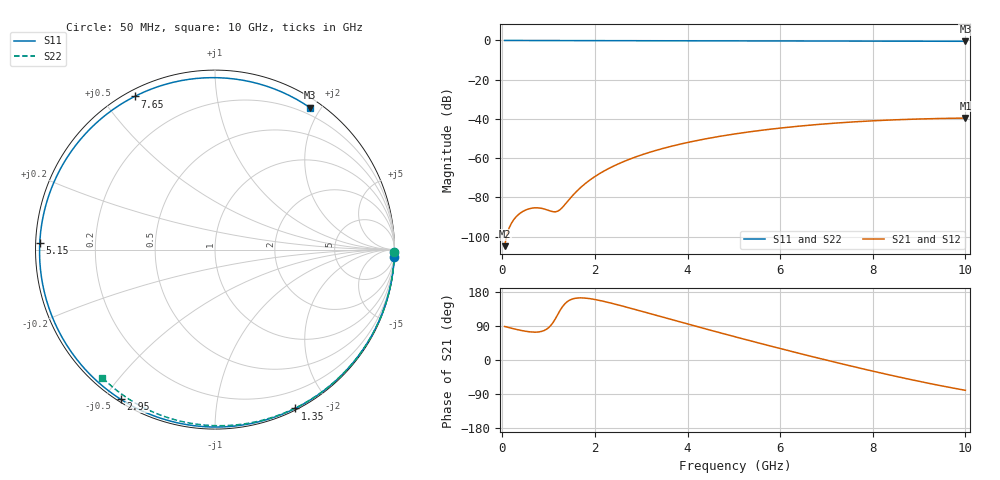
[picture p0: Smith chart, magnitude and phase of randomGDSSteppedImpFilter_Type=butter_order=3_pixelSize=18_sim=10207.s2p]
! freq	dB(S11)	phase(S11)	dB(S12)	phase(S12)
!  dB(S21)	phase(S21)	dB(S22)	phase(S22)
!S-par simulation data
#  GHz  S  DB  R 50
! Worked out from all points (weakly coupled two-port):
!   200 points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, 50 MHz to 10 GHz, reference 50 ohm
!   highest |S21| = -39.58 dB at 10 GHz (marker M1); lowest = -104.9 dB at 50 MHz (marker M2)
!   lowest |S11| = -0.4 dB at 10 GHz (marker M3), VSWR 40.17, Z = 5.6 + j93.4 ohm
!   |S11| at or under -10 dB: nowhere
!   |S22| runs from -0.4 to 0.0 dB; largest |S21 - S12| = 0
!   S11 on the Smith chart (normalised r, x): 50 MHz: 0, -46; 1.35 GHz: 0.02, -1.62; 2.95 GHz: 0.01, -0.55; 5.15 GHz: 0.01, +0.02; 7.65 GHz: 0.03, +0.60; 10 GHz: 0.11, +1.87
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0.05  -0.00 -2.5  -104.91 88.5  -104.91 88.5  -0.00 -0.8
0.35  -0.02 -17.2  -88.77 79.4  -88.77 79.4  -0.01 -5.3
0.65  -0.04 -31.6  -85.50 73.7  -85.50 73.7  -0.01 -9.8
1  -0.06 -47.8  -86.67 85.3  -86.67 85.3  -0.02 -15.1
1.35  -0.08 -63.2  -83.77 148.2  -83.77 148.2  -0.03 -20.3
1.5  -0.08 -69.6  -79.58 160.4  -79.58 160.4  -0.03 -22.5
1.75  -0.09 -79.7  -73.80 163.8  -73.80 163.8  -0.03 -26.2
2  -0.10 -89.4  -69.40 159.7  -69.40 159.7  -0.04 -29.9
2.25  -0.11 -98.7  -65.90 153.0  -65.90 153.0  -0.04 -33.5
2.6  -0.12 -110.8  -61.98 142.2  -61.98 142.2  -0.05 -38.5
2.95  -0.13 -122.3  -58.82 130.5  -58.82 130.5  -0.06 -43.5
3.4  -0.14 -135.9  -55.52 115.3  -55.52 115.3  -0.07 -49.9
3.8  -0.15 -147.3  -53.11 101.8  -53.11 101.8  -0.08 -55.4
4.2  -0.17 -158.1  -51.05 88.4  -51.05 88.4  -0.09 -60.9
5.05  -0.20 -179.8  -47.57 60.5  -47.57 60.5  -0.11 -72.2
5.15  -0.20 177.8  -47.23 57.2  -47.23 57.2  -0.11 -73.5
5.9  -0.24 159.7  -44.95 33.4  -44.95 33.4  -0.14 -83.1
6.7  -0.27 140.6  -43.07 8.7  -43.07 8.7  -0.18 -93.0
7.65  -0.32 117.6  -41.44 -19.4  -41.44 -19.4  -0.24 -104.4
8.35  -0.36 100.1  -40.60 -39.1  -40.60 -39.1  -0.29 -112.6
9.2  -0.39 77.9  -39.93 -61.3  -39.93 -61.3  -0.36 -122.3
10  -0.43 56.2  -39.58 -80.0  -39.58 -80.0  -0.44 -131.4
